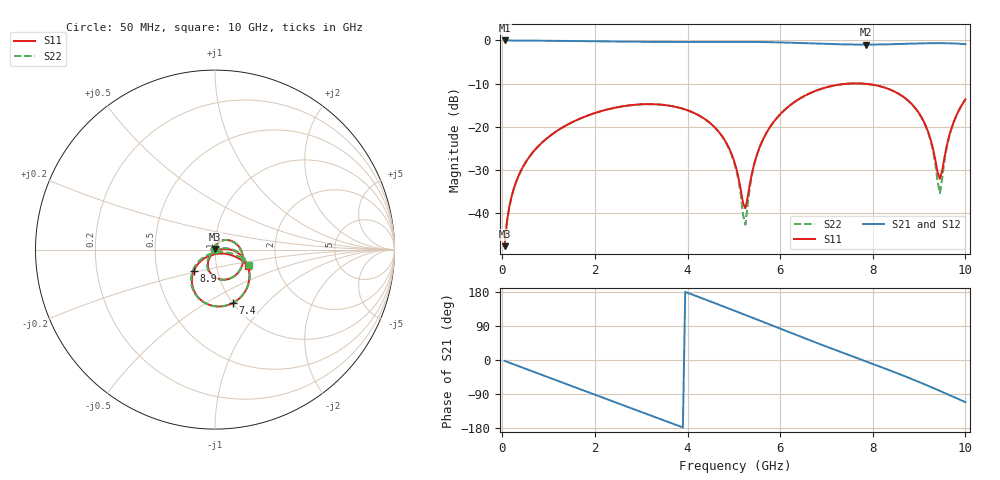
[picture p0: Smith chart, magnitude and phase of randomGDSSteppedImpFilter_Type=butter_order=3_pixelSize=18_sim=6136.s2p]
! freq	dB(S11)	phase(S11)	dB(S12)	phase(S12)
!  dB(S21)	phase(S21)	dB(S22)	phase(S22)
!S-par simulation data
#  GHz  S  DB  R 50
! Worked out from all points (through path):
!   200 points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, 50 MHz to 10 GHz, reference 50 ohm
!   highest |S21| = 0.00 dB at 50 MHz (marker M1); lowest = -1.0 dB at 7.85 GHz (marker M2)
!   group delay of S21, straight-line fit = 130 ps
!   lowest |S11| = -47.6 dB at 50 MHz (marker M3), VSWR 1.01, Z = 50.1 + j0.413 ohm
!   |S11| at or under -10 dB: start of sweep to 7.469 GHz; 7.804 GHz to end of sweep
!   |S22| runs from -47.6 to -9.9 dB; largest |S21 - S12| = 0
!   S11 on the Smith chart (normalised r, x): 50 MHz: 1.00, +0.01; 7.4 GHz: 1.00, -0.66; 8.9 GHz: 0.77, -0.19; 10 GHz: 1.42, -0.28
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0.05  -47.62 82.4  -0.00 -2.3  -0.00 -2.3  -47.62 82.5
0.2  -36.16 78.7  -0.02 -9.3  -0.02 -9.3  -36.16 78.6
0.5  -28.28 66.5  -0.04 -23.0  -0.04 -23.0  -28.29 66.2
1.15  -21.16 37.6  -0.09 -52.8  -0.09 -52.8  -21.16 37.2
1.75  -17.77 10.6  -0.16 -80.2  -0.16 -80.2  -17.78 10.0
2.5  -15.43 -23.1  -0.26 -114.4  -0.26 -114.4  -15.44 -24.0
3.4  -14.84 -63.1  -0.34 -155.2  -0.34 -155.2  -14.85 -64.3
4.5  -19.24 -110.3  -0.33 154.3  -0.33 154.3  -19.27 -112.8
4.85  -23.96 -122.2  -0.32 137.8  -0.32 137.8  -24.05 -126.3
5.05  -29.51 -122.2  -0.32 128.3  -0.32 128.3  -29.84 -129.7
5.25  -38.85 -51.1  -0.32 118.7  -0.32 118.7  -42.66 -45.5
5.4  -30.30 0.9  -0.34 111.5  -0.34 111.5  -30.64 8.4
5.65  -22.47 2.0  -0.37 99.5  -0.37 99.5  -22.52 4.8
6.7  -11.95 -40.9  -0.69 49.3  -0.69 49.3  -11.95 -40.7
7.4  -10.06 -71.6  -0.92 17.0  -0.92 17.0  -10.07 -71.9
7.85  -10.04 -91.0  -0.96 -3.5  -0.96 -3.5  -10.05 -91.5
8.35  -11.27 -112.3  -0.89 -26.5  -0.89 -26.5  -11.28 -113.3
8.9  -15.43 -134.6  -0.72 -53.1  -0.72 -53.1  -15.48 -136.8
9.25  -22.95 -140.0  -0.63 -71.0  -0.63 -71.0  -23.26 -145.8
9.45  -32.03 -78.0  -0.63 -81.5  -0.63 -81.5  -35.35 -75.9
9.65  -22.11 -19.7  -0.66 -92.2  -0.66 -92.2  -22.33 -13.6
10  -13.65 -26.6  -0.85 -111.1  -0.85 -111.1  -13.68 -24.2
